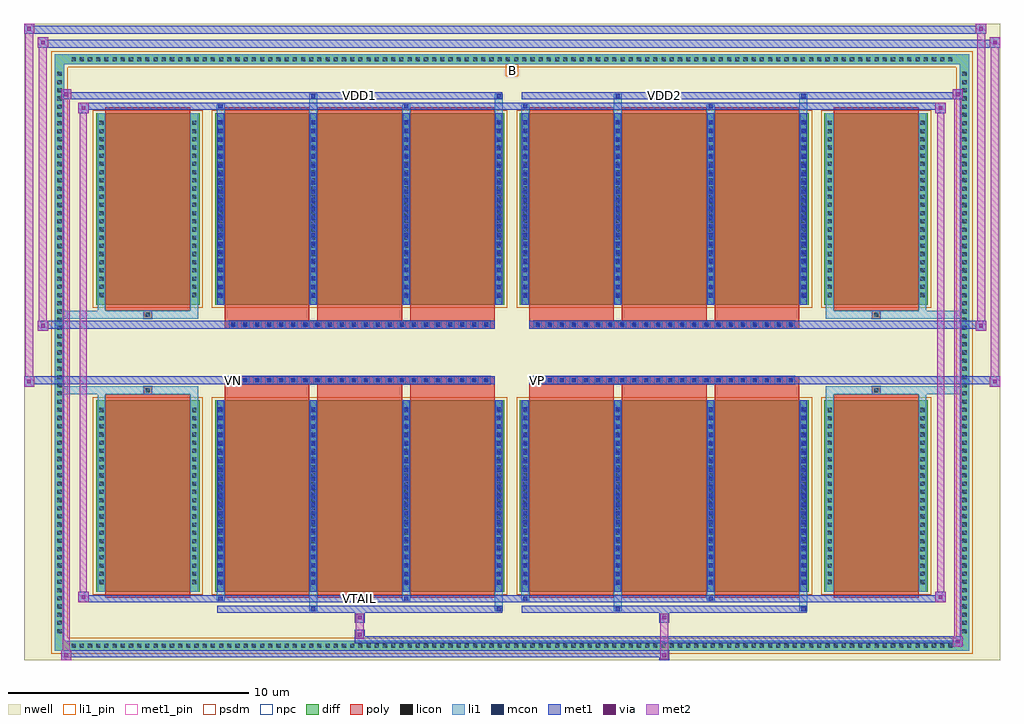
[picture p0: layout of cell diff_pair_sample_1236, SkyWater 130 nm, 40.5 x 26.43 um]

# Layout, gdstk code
import gdstk
lib = gdstk.Library(unit=1e-6, precision=5e-09)
def R(c, l, rs):  # rectangles x0, y0, x1, y1
    for r in rs: c.add(gdstk.rectangle(r[:2], r[2:], *l))
def A(c, l, x, y, w, h, nx, ny, dx, dy):  # array of equal rectangles
    R(c, l, [(x+i*dx, y+j*dy, x+i*dx+w, y+j*dy+h) for i in range(nx) for j in range(ny)])
def P(c, l, *ps):  # polygons
    for p in ps: c.add(gdstk.Polygon(p, *l))
nwell = (64, 20)
diff = (65, 20)
poly = (66, 20)
licon = (66, 44)
li1_pin = (67, 16)
li1 = (67, 20)
mcon = (67, 44)
met1_pin = (68, 16)
met1 = (68, 20)
via = (68, 44)
met2 = (69, 20)
psdm = (94, 20)
npc = (95, 20)

diff_pair_sample_1236 = lib.new_cell('diff_pair_sample_1236')
R(diff_pair_sample_1236, nwell, [(-20.25,-12.78,20.25,13.65), (-17.57,-10.97,-0.01,-0.795), (0.01,-10.97,17.57,-0.795), (-17.57,0.795,-0.01,10.97), (0.01,0.795,17.57,10.97)])
A(diff_pair_sample_1236, diff, -18.395, -12.38, 0.41, 0.41, 108, 2, 0.34, 24.35)
A(diff_pair_sample_1236, diff, -18.98, -11.765, 0.41, 0.41, 1, 69, 0, 0.34)
A(diff_pair_sample_1236, diff, 18.57, -11.765, 0.41, 0.41, 1, 69, 0, 0.34)
R(diff_pair_sample_1236, diff, [(-18.395,-12.38,18.395,-11.97), (-18.98,-11.765,-18.57,11.765), (18.57,-11.765,18.98,11.765), (-17.26,-9.925,-12.96,-1.985), (-12.32,-9.925,-0.32,-1.985), (0.32,-9.925,12.32,-1.985), (12.96,-9.925,17.26,-1.985), (-17.26,1.985,-12.96,9.925), (-12.32,1.985,-0.32,9.925), (0.32,1.985,12.32,9.925), (12.96,1.985,17.26,9.925), (-18.395,11.97,18.395,12.38)])
P(diff_pair_sample_1236, diff, [(18.98,12.38),(-18.98,12.38),(-18.98,-11.97),(-18.57,-11.97),(-18.57,11.97),(18.57,11.97),(18.57,-11.97),(-18.57,-11.97),(-18.98,-11.97),(-18.98,-12.38),(18.98,-12.38)])
A(diff_pair_sample_1236, poly, -11.93, -10.18, 3.52, 8.45, 3, 2, 3.85, 11.91)
A(diff_pair_sample_1236, poly, 0.71, -10.18, 3.52, 8.45, 3, 2, 3.85, 11.91)
A(diff_pair_sample_1236, poly, -11.93, -1.73, 3.52, 0.405, 3, 2, 3.85, 3.055)
A(diff_pair_sample_1236, poly, 0.71, -1.73, 3.52, 0.405, 3, 2, 3.85, 3.055)
A(diff_pair_sample_1236, poly, -11.735, -1.325, 0.33, 0.33, 22, 2, 0.5, 2.32)
A(diff_pair_sample_1236, poly, 0.905, -1.325, 0.33, 0.33, 22, 2, 0.5, 2.32)
R(diff_pair_sample_1236, poly, [(-16.87,-10.18,-13.35,-1.73), (13.35,-10.18,16.87,-1.73), (-15.275,-1.73,-14.945,-1.4), (-15.275,-1.73,-14.945,-1.4), (14.945,-1.73,15.275,-1.4), (14.945,-1.73,15.275,-1.4), (-11.93,-1.325,-0.71,-0.995), (0.71,-1.325,11.93,-0.995), (-11.93,0.995,-0.71,1.325), (0.71,0.995,11.93,1.325), (-15.275,1.4,-14.945,1.73), (-15.275,1.4,-14.945,1.73), (14.945,1.4,15.275,1.73), (14.945,1.4,15.275,1.73), (-16.87,1.73,-13.35,10.18), (13.35,1.73,16.87,10.18)])
A(diff_pair_sample_1236, licon, -18.275, -12.26, 0.17, 0.17, 108, 2, 0.34, 24.35)
A(diff_pair_sample_1236, licon, -18.86, -11.645, 0.17, 0.17, 1, 69, 0, 0.34)
A(diff_pair_sample_1236, licon, 18.69, -11.645, 0.17, 0.17, 1, 69, 0, 0.34)
A(diff_pair_sample_1236, licon, -17.12, -9.61, 0.17, 0.17, 1, 22, 0, 0.34)
A(diff_pair_sample_1236, licon, -13.27, -9.61, 0.17, 0.17, 1, 22, 0, 0.34)
A(diff_pair_sample_1236, licon, -12.18, -9.61, 0.17, 0.17, 4, 22, 3.85, 0.34)
A(diff_pair_sample_1236, licon, 0.46, -9.61, 0.17, 0.17, 4, 22, 3.85, 0.34)
A(diff_pair_sample_1236, licon, 13.1, -9.61, 0.17, 0.17, 1, 22, 0, 0.34)
A(diff_pair_sample_1236, licon, 16.95, -9.61, 0.17, 0.17, 1, 22, 0, 0.34)
A(diff_pair_sample_1236, licon, -11.655, -1.245, 0.17, 0.17, 22, 2, 0.5, 2.32)
A(diff_pair_sample_1236, licon, 0.985, -1.245, 0.17, 0.17, 22, 2, 0.5, 2.32)
A(diff_pair_sample_1236, licon, -17.12, 2.3, 0.17, 0.17, 1, 22, 0, 0.34)
A(diff_pair_sample_1236, licon, -13.27, 2.3, 0.17, 0.17, 1, 22, 0, 0.34)
A(diff_pair_sample_1236, licon, -12.18, 2.3, 0.17, 0.17, 4, 22, 3.85, 0.34)
A(diff_pair_sample_1236, licon, 0.46, 2.3, 0.17, 0.17, 4, 22, 3.85, 0.34)
A(diff_pair_sample_1236, licon, 13.1, 2.3, 0.17, 0.17, 1, 22, 0, 0.34)
A(diff_pair_sample_1236, licon, 16.95, 2.3, 0.17, 0.17, 1, 22, 0, 0.34)
R(diff_pair_sample_1236, licon, [(-15.195,-1.65,-15.025,-1.48), (15.025,-1.65,15.195,-1.48), (-15.195,1.48,-15.025,1.65), (15.025,1.48,15.195,1.65)])
R(diff_pair_sample_1236, li1_pin, [(-0.25,11.47,0.25,11.97)])
A(diff_pair_sample_1236, li1, -18.355, -12.34, 0.33, 0.33, 108, 2, 0.34, 24.35)
A(diff_pair_sample_1236, li1, -18.94, -11.725, 0.33, 0.33, 1, 69, 0, 0.34)
A(diff_pair_sample_1236, li1, 18.61, -11.725, 0.33, 0.33, 1, 69, 0, 0.34)
A(diff_pair_sample_1236, li1, -12.26, -9.925, 0.33, 7.94, 4, 2, 3.85, 11.91)
A(diff_pair_sample_1236, li1, 0.38, -9.925, 0.33, 7.94, 4, 2, 3.85, 11.91)
A(diff_pair_sample_1236, li1, -17.2, -9.69, 0.33, 0.33, 1, 22, 0, 0.34)
A(diff_pair_sample_1236, li1, -13.35, -9.69, 0.33, 0.33, 1, 22, 0, 0.34)
A(diff_pair_sample_1236, li1, -12.26, -9.69, 0.33, 0.33, 4, 22, 3.85, 0.34)
A(diff_pair_sample_1236, li1, 0.38, -9.69, 0.33, 0.33, 4, 22, 3.85, 0.34)
A(diff_pair_sample_1236, li1, 13.02, -9.69, 0.33, 0.33, 1, 22, 0, 0.34)
A(diff_pair_sample_1236, li1, 16.87, -9.69, 0.33, 0.33, 1, 22, 0, 0.34)
A(diff_pair_sample_1236, li1, -12.18, -9.64, 0.17, 0.17, 4, 21, 3.85, 0.36)
A(diff_pair_sample_1236, li1, -12.18, -9.64, 0.17, 7.37, 4, 2, 3.85, 11.91)
A(diff_pair_sample_1236, li1, 0.46, -9.64, 0.17, 0.17, 4, 21, 3.85, 0.36)
A(diff_pair_sample_1236, li1, 0.46, -9.64, 0.17, 7.37, 4, 2, 3.85, 11.91)
A(diff_pair_sample_1236, li1, -11.735, -1.325, 0.33, 0.33, 22, 2, 0.5, 2.32)
A(diff_pair_sample_1236, li1, 0.905, -1.325, 0.33, 0.33, 22, 2, 0.5, 2.32)
A(diff_pair_sample_1236, li1, -17.2, 2.22, 0.33, 0.33, 1, 22, 0, 0.34)
A(diff_pair_sample_1236, li1, -13.35, 2.22, 0.33, 0.33, 1, 22, 0, 0.34)
A(diff_pair_sample_1236, li1, -12.26, 2.22, 0.33, 0.33, 4, 22, 3.85, 0.34)
A(diff_pair_sample_1236, li1, 0.38, 2.22, 0.33, 0.33, 4, 22, 3.85, 0.34)
A(diff_pair_sample_1236, li1, 13.02, 2.22, 0.33, 0.33, 1, 22, 0, 0.34)
A(diff_pair_sample_1236, li1, 16.87, 2.22, 0.33, 0.33, 1, 22, 0, 0.34)
A(diff_pair_sample_1236, li1, -12.18, 2.27, 0.17, 0.17, 4, 21, 3.85, 0.36)
A(diff_pair_sample_1236, li1, 0.46, 2.27, 0.17, 0.17, 4, 21, 3.85, 0.36)
R(diff_pair_sample_1236, li1, [(-18.98,-12.38,-18.57,-11.97), (-18.98,-12.38,-18.57,-11.97), (-18.57,-12.38,18.57,-11.97), (18.57,-12.38,18.98,-11.97), (18.57,-12.38,18.98,-11.97), (-18.98,-11.97,-18.57,11.97), (18.57,-11.97,18.98,11.97), (-8.41,-10.73,-8.08,-9.925), (-8.33,-10.73,-8.16,-10.56), (-0.71,-10.73,-0.38,-9.925), (-0.63,-10.73,-0.46,-10.56), (4.23,-10.73,4.56,-9.925), (4.31,-10.73,4.48,-10.56), (11.93,-10.73,12.26,-9.925), (12.01,-10.73,12.18,-10.56), (-12.26,-10.3,-11.93,-9.925), (-12.18,-10.3,-12.01,-10.13), (-4.56,-10.3,-4.23,-9.925), (-4.48,-10.3,-4.31,-10.13), (0.38,-10.3,0.71,-9.925), (0.46,-10.3,0.63,-10.13), (8.08,-10.3,8.41,-9.925), (8.16,-10.3,8.33,-10.13), (-17.2,-9.925,-16.87,-1.985), (-13.35,-9.925,-13.02,-1.985), (13.02,-9.925,13.35,-1.985), (16.87,-9.925,17.2,-1.985), (-17.2,-1.985,-16.87,-1.4), (-13.35,-1.985,-13.02,-1.4), (13.02,-1.985,13.35,-1.4), (16.87,-1.985,17.2,-1.4), (-18.98,-1.73,-15.275,-1.4), (-17.2,-1.73,-15.275,-1.4), (-15.275,-1.73,-14.945,-1.4), (-14.945,-1.73,-13.02,-1.4), (13.02,-1.73,14.945,-1.4), (14.945,-1.73,15.275,-1.4), (14.945,-1.73,18.98,-1.4), (15.275,-1.73,17.2,-1.4), (-18.98,1.4,-15.275,1.73), (-17.2,1.4,-15.275,1.73), (-17.2,1.4,-16.87,1.985), (-15.275,1.4,-14.945,1.73), (-14.945,1.4,-13.02,1.73), (-13.35,1.4,-13.02,1.985), (13.02,1.4,14.945,1.73), (13.02,1.4,13.35,1.985), (14.945,1.4,15.275,1.73), (14.945,1.4,18.98,1.73), (15.275,1.4,17.2,1.73), (16.87,1.4,17.2,1.985), (-17.2,1.985,-16.87,9.925), (-13.35,1.985,-13.02,9.925), (13.02,1.985,13.35,9.925), (16.87,1.985,17.2,9.925), (-12.26,9.925,-11.93,10.3), (-8.41,9.925,-8.08,10.73), (-4.56,9.925,-4.23,10.3), (-0.71,9.925,-0.38,10.73), (0.38,9.925,0.71,10.3), (4.23,9.925,4.56,10.73), (8.08,9.925,8.41,10.3), (11.93,9.925,12.26,10.73), (-12.18,10.13,-12.01,10.3), (-4.48,10.13,-4.31,10.3), (0.46,10.13,0.63,10.3), (8.16,10.13,8.33,10.3), (-8.33,10.56,-8.16,10.73), (-0.63,10.56,-0.46,10.73), (4.31,10.56,4.48,10.73), (12.01,10.56,12.18,10.73), (-18.98,11.97,-18.57,12.38), (-18.98,11.97,-18.57,12.38), (-18.57,11.97,18.57,12.38), (18.57,11.97,18.98,12.38), (18.57,11.97,18.98,12.38)])
A(diff_pair_sample_1236, mcon, -12.18, -9.64, 0.17, 0.17, 4, 21, 3.85, 0.36)
A(diff_pair_sample_1236, mcon, 0.46, -9.64, 0.17, 0.17, 4, 21, 3.85, 0.36)
A(diff_pair_sample_1236, mcon, -11.655, -1.245, 0.17, 0.17, 22, 2, 0.5, 2.32)
A(diff_pair_sample_1236, mcon, 0.985, -1.245, 0.17, 0.17, 22, 2, 0.5, 2.32)
A(diff_pair_sample_1236, mcon, -12.18, 2.27, 0.17, 0.17, 4, 21, 3.85, 0.36)
A(diff_pair_sample_1236, mcon, 0.46, 2.27, 0.17, 0.17, 4, 21, 3.85, 0.36)
R(diff_pair_sample_1236, mcon, [(-8.33,-10.73,-8.16,-10.56), (-0.63,-10.73,-0.46,-10.56), (4.31,-10.73,4.48,-10.56), (12.01,-10.73,12.18,-10.56), (-12.18,-10.3,-12.01,-10.13), (-4.48,-10.3,-4.31,-10.13), (0.46,-10.3,0.63,-10.13), (8.16,-10.3,8.33,-10.13), (-12.18,10.13,-12.01,10.3), (-4.48,10.13,-4.31,10.3), (0.46,10.13,0.63,10.3), (8.16,10.13,8.33,10.3), (-8.33,10.56,-8.16,10.73), (-0.63,10.56,-0.46,10.73), (4.31,10.56,4.48,10.73), (12.01,10.56,12.18,10.73)])
R(diff_pair_sample_1236, met1_pin, [(-6.455,-10.34,-6.185,-10.07), (-11.705,-1.285,-11.435,-1.015), (0.935,-1.285,1.205,-1.015), (-6.455,10.52,-6.185,10.79), (6.185,10.52,6.455,10.79)])
A(diff_pair_sample_1236, met1, -12.24, -9.925, 0.29, 7.94, 4, 2, 3.85, 11.91)
A(diff_pair_sample_1236, met1, 0.4, -9.925, 0.29, 7.94, 4, 2, 3.85, 11.91)
A(diff_pair_sample_1236, met1, -12.24, -9.7, 0.29, 0.29, 4, 21, 3.85, 0.36)
A(diff_pair_sample_1236, met1, 0.4, -9.7, 0.29, 0.29, 4, 21, 3.85, 0.36)
A(diff_pair_sample_1236, met1, -11.715, -1.305, 0.29, 0.29, 22, 2, 0.5, 2.32)
A(diff_pair_sample_1236, met1, 0.925, -1.305, 0.29, 0.29, 22, 2, 0.5, 2.32)
A(diff_pair_sample_1236, met1, -12.24, 2.21, 0.29, 0.29, 4, 21, 3.85, 0.36)
A(diff_pair_sample_1236, met1, 0.4, 2.21, 0.29, 0.29, 4, 21, 3.85, 0.36)
R(diff_pair_sample_1236, met1, [(-18.71,-12.78,-18.28,-12.35), (6.105,-12.78,6.535,-12.35), (-18.71,-12.64,6.535,-12.35), (18.28,-12.21,18.71,-11.78), (-6.535,-12.07,18.71,-11.78), (-6.535,-11.93,-6.105,-11.5), (-6.535,-11.22,-6.105,-10.79), (6.105,-11.22,6.535,-10.79), (-12.24,-10.79,-0.4,-10.5), (-8.39,-10.79,-8.1,-10.5), (-0.69,-10.79,-0.4,-10.5), (0.4,-10.79,12.24,-10.5), (4.25,-10.79,4.54,-10.5), (11.95,-10.79,12.24,-10.5), (-18,-10.36,-17.57,-9.93), (-18,-10.36,-12.24,-10.07), (-12.24,-10.36,-11.95,-10.07), (-12.24,-10.36,-0.4,-10.07), (-4.54,-10.36,-4.25,-10.07), (-0.4,-10.36,0.4,-10.07), (0.4,-10.36,0.69,-10.07), (0.4,-10.36,12.24,-10.07), (8.1,-10.36,8.39,-10.07), (12.24,-10.36,18,-10.07), (17.57,-10.36,18,-9.93), (-20.25,-1.425,-19.82,-0.995), (19.82,-1.425,20.25,-0.995), (-20.25,-1.325,-0.71,-0.995), (-11.93,-1.325,-0.71,-0.995), (0.71,-1.325,11.93,-0.995), (0.71,-1.325,20.25,-0.995), (-19.68,0.895,-19.25,1.325), (19.25,0.895,19.68,1.325), (-19.68,0.995,-11.93,1.325), (-11.93,0.995,-0.71,1.325), (0.71,0.995,11.93,1.325), (11.93,0.995,19.68,1.325), (-18,9.93,-17.57,10.36), (17.57,9.93,18,10.36), (-18,10.07,-12.24,10.36), (-12.24,10.07,-11.95,10.36), (-12.24,10.07,-0.4,10.36), (-4.54,10.07,-4.25,10.36), (-0.4,10.07,0.4,10.36), (0.4,10.07,0.69,10.36), (0.4,10.07,12.24,10.36), (8.1,10.07,8.39,10.36), (12.24,10.07,18,10.36), (-18.71,10.5,-18.28,10.93), (-18.71,10.5,-12.24,10.79), (-12.24,10.5,-0.4,10.79), (-8.39,10.5,-8.1,10.79), (-0.69,10.5,-0.4,10.79), (0.4,10.5,12.24,10.79), (4.25,10.5,4.54,10.79), (11.95,10.5,12.24,10.79), (12.24,10.5,18.71,10.79), (18.28,10.5,18.71,10.93), (-19.68,12.65,-19.25,13.08), (-19.68,12.65,-17.57,12.98), (-17.57,12.65,17.57,12.98), (17.57,12.65,20.25,12.98), (19.82,12.65,20.25,13.08), (-20.25,13.22,-19.82,13.65), (-20.25,13.22,-17.57,13.55), (-17.57,13.22,17.57,13.55), (17.57,13.22,19.68,13.55), (19.25,13.22,19.68,13.65)])
R(diff_pair_sample_1236, via, [(-18.57,-12.64,-18.42,-12.49), (6.245,-12.64,6.395,-12.49), (18.42,-12.07,18.57,-11.92), (-6.395,-11.79,-6.245,-11.64), (-6.395,-11.08,-6.245,-10.93), (6.245,-11.08,6.395,-10.93), (-17.86,-10.22,-17.71,-10.07), (17.71,-10.22,17.86,-10.07), (-20.11,-1.285,-19.96,-1.135), (19.96,-1.285,20.11,-1.135), (-19.54,1.035,-19.39,1.185), (19.39,1.035,19.54,1.185), (-17.86,10.07,-17.71,10.22), (17.71,10.07,17.86,10.22), (-18.57,10.64,-18.42,10.79), (18.42,10.64,18.57,10.79), (-19.54,12.79,-19.39,12.94), (19.96,12.79,20.11,12.94), (-20.11,13.36,-19.96,13.51), (19.39,13.36,19.54,13.51)])
R(diff_pair_sample_1236, met2, [(-18.71,-12.78,-18.28,-12.35), (-18.64,-12.78,-18.35,10.93), (-18.35,-12.78,-18.28,-12.35), (-18.66,-12.73,-18.33,-12.4), (6.155,-12.73,6.485,-12.4), (6.155,-12.4,6.485,-11.17), (18.28,-12.21,18.71,-11.78), (18.35,-12.21,18.64,10.93), (18.64,-12.21,18.71,-11.78), (18.33,-12.16,18.66,-11.83), (-6.485,-11.88,-6.155,-11.55), (-6.485,-11.55,-6.155,-11.17), (-6.485,-11.17,-6.155,-10.84), (6.155,-11.17,6.485,-10.84), (-18,-10.36,-17.57,-9.93), (-17.93,-10.36,-17.64,10.36), (-17.64,-10.36,-17.57,-9.93), (17.57,-10.36,18,-9.93), (17.64,-10.36,17.93,10.36), (17.93,-10.36,18,-9.93), (-17.95,-10.31,-17.62,-9.98), (17.62,-10.31,17.95,-9.98), (-20.25,-1.425,-19.82,-0.995), (-20.2,-1.425,-19.87,13.65), (-19.87,-1.425,-19.82,-0.995), (19.82,-1.425,20.25,-0.995), (19.87,-1.425,20.2,13.08), (20.2,-1.425,20.25,-0.995), (-20.2,-1.375,-19.87,-1.045), (19.87,-1.375,20.2,-1.045), (-19.68,0.895,-19.25,1.325), (-19.63,0.895,-19.3,13.08), (-19.3,0.895,-19.25,1.325), (19.25,0.895,19.68,1.325), (19.3,0.895,19.63,13.65), (19.63,0.895,19.68,1.325), (-19.63,0.945,-19.3,1.275), (19.3,0.945,19.63,1.275), (-18,9.93,-17.57,10.36), (-17.64,9.93,-17.57,10.36), (17.57,9.93,18,10.36), (17.93,9.93,18,10.36), (-17.95,9.98,-17.62,10.31), (17.62,9.98,17.95,10.31), (-18.71,10.5,-18.28,10.93), (-18.35,10.5,-18.28,10.93), (18.28,10.5,18.71,10.93), (18.64,10.5,18.71,10.93), (-18.66,10.55,-18.33,10.88), (18.33,10.55,18.66,10.88), (-19.68,12.65,-19.25,13.08), (-19.3,12.65,-19.25,13.08), (19.82,12.65,20.25,13.08), (20.2,12.65,20.25,13.08), (-19.63,12.7,-19.3,13.03), (19.87,12.7,20.2,13.03), (-20.25,13.22,-19.82,13.65), (-19.87,13.22,-19.82,13.65), (19.25,13.22,19.68,13.65), (19.63,13.22,19.68,13.65), (-20.2,13.27,-19.87,13.6), (19.3,13.27,19.63,13.6)])
R(diff_pair_sample_1236, psdm, [(-17.39,-10.055,-12.83,-1.855), (-12.45,-10.055,-0.19,-1.855), (0.19,-10.055,12.45,-1.855), (12.83,-10.055,17.39,-1.855), (-17.39,1.855,-12.83,10.055), (-12.45,1.855,-0.19,10.055), (0.19,1.855,12.45,10.055), (12.83,1.855,17.39,10.055)])
P(diff_pair_sample_1236, psdm, [(19.11,12.51),(-19.11,12.51),(-19.11,-11.84),(-18.44,-11.84),(-18.44,11.84),(18.44,11.84),(18.44,-11.84),(-18.44,-11.84),(-19.11,-11.84),(-19.11,-12.51),(19.11,-12.51)])
A(diff_pair_sample_1236, npc, -11.755, -1.345, 0.37, 0.37, 22, 2, 0.5, 2.32)
A(diff_pair_sample_1236, npc, 0.885, -1.345, 0.37, 0.37, 22, 2, 0.5, 2.32)
R(diff_pair_sample_1236, npc, [(-15.295,-1.75,-14.925,-1.38), (14.925,-1.75,15.295,-1.38), (-11.755,-1.345,-10.885,-0.975), (-11.755,-1.345,-10.885,-0.975), (-11.255,-1.345,-10.385,-0.975), (-11.255,-1.345,-10.385,-0.975), (-10.755,-1.345,-9.885,-0.975), (-10.755,-1.345,-9.885,-0.975), (-10.255,-1.345,-9.385,-0.975), (-10.255,-1.345,-9.385,-0.975), (-9.755,-1.345,-8.885,-0.975), (-9.755,-1.345,-8.885,-0.975), (-9.255,-1.345,-8.385,-0.975), (-9.255,-1.345,-8.385,-0.975), (-8.755,-1.345,-7.885,-0.975), (-8.755,-1.345,-7.885,-0.975), (-8.255,-1.345,-7.385,-0.975), (-8.255,-1.345,-7.385,-0.975), (-7.755,-1.345,-6.885,-0.975), (-7.755,-1.345,-6.885,-0.975), (-7.255,-1.345,-6.385,-0.975), (-7.255,-1.345,-6.385,-0.975), (-6.755,-1.345,-5.885,-0.975), (-6.755,-1.345,-5.885,-0.975), (-6.255,-1.345,-5.385,-0.975), (-6.255,-1.345,-5.385,-0.975), (-5.755,-1.345,-4.885,-0.975), (-5.755,-1.345,-4.885,-0.975), (-5.255,-1.345,-4.385,-0.975), (-5.255,-1.345,-4.385,-0.975), (-4.755,-1.345,-3.885,-0.975), (-4.755,-1.345,-3.885,-0.975), (-4.255,-1.345,-3.385,-0.975), (-4.255,-1.345,-3.385,-0.975), (-3.755,-1.345,-2.885,-0.975), (-3.755,-1.345,-2.885,-0.975), (-3.255,-1.345,-2.385,-0.975), (-3.255,-1.345,-2.385,-0.975), (-2.755,-1.345,-1.885,-0.975), (-2.755,-1.345,-1.885,-0.975), (-2.255,-1.345,-1.385,-0.975), (-2.255,-1.345,-1.385,-0.975), (-1.755,-1.345,-0.885,-0.975), (-1.755,-1.345,-0.885,-0.975), (0.885,-1.345,1.755,-0.975), (0.885,-1.345,1.755,-0.975), (1.385,-1.345,2.255,-0.975), (1.385,-1.345,2.255,-0.975), (1.885,-1.345,2.755,-0.975), (1.885,-1.345,2.755,-0.975), (2.385,-1.345,3.255,-0.975), (2.385,-1.345,3.255,-0.975), (2.885,-1.345,3.755,-0.975), (2.885,-1.345,3.755,-0.975), (3.385,-1.345,4.255,-0.975), (3.385,-1.345,4.255,-0.975), (3.885,-1.345,4.755,-0.975), (3.885,-1.345,4.755,-0.975), (4.385,-1.345,5.255,-0.975), (4.385,-1.345,5.255,-0.975), (4.885,-1.345,5.755,-0.975), (4.885,-1.345,5.755,-0.975), (5.385,-1.345,6.255,-0.975), (5.385,-1.345,6.255,-0.975), (5.885,-1.345,6.755,-0.975), (5.885,-1.345,6.755,-0.975), (6.385,-1.345,7.255,-0.975), (6.385,-1.345,7.255,-0.975), (6.885,-1.345,7.755,-0.975), (6.885,-1.345,7.755,-0.975), (7.385,-1.345,8.255,-0.975), (7.385,-1.345,8.255,-0.975), (7.885,-1.345,8.755,-0.975), (7.885,-1.345,8.755,-0.975), (8.385,-1.345,9.255,-0.975), (8.385,-1.345,9.255,-0.975), (8.885,-1.345,9.755,-0.975), (8.885,-1.345,9.755,-0.975), (9.385,-1.345,10.255,-0.975), (9.385,-1.345,10.255,-0.975), (9.885,-1.345,10.755,-0.975), (9.885,-1.345,10.755,-0.975), (10.385,-1.345,11.255,-0.975), (10.385,-1.345,11.255,-0.975), (10.885,-1.345,11.755,-0.975), (10.885,-1.345,11.755,-0.975), (-11.755,0.975,-10.885,1.345), (-11.755,0.975,-10.885,1.345), (-11.255,0.975,-10.385,1.345), (-11.255,0.975,-10.385,1.345), (-10.755,0.975,-9.885,1.345), (-10.755,0.975,-9.885,1.345), (-10.255,0.975,-9.385,1.345), (-10.255,0.975,-9.385,1.345), (-9.755,0.975,-8.885,1.345), (-9.755,0.975,-8.885,1.345), (-9.255,0.975,-8.385,1.345), (-9.255,0.975,-8.385,1.345), (-8.755,0.975,-7.885,1.345), (-8.755,0.975,-7.885,1.345), (-8.255,0.975,-7.385,1.345), (-8.255,0.975,-7.385,1.345), (-7.755,0.975,-6.885,1.345), (-7.755,0.975,-6.885,1.345), (-7.255,0.975,-6.385,1.345), (-7.255,0.975,-6.385,1.345), (-6.755,0.975,-5.885,1.345), (-6.755,0.975,-5.885,1.345), (-6.255,0.975,-5.385,1.345), (-6.255,0.975,-5.385,1.345), (-5.755,0.975,-4.885,1.345), (-5.755,0.975,-4.885,1.345), (-5.255,0.975,-4.385,1.345), (-5.255,0.975,-4.385,1.345), (-4.755,0.975,-3.885,1.345), (-4.755,0.975,-3.885,1.345), (-4.255,0.975,-3.385,1.345), (-4.255,0.975,-3.385,1.345), (-3.755,0.975,-2.885,1.345), (-3.755,0.975,-2.885,1.345), (-3.255,0.975,-2.385,1.345), (-3.255,0.975,-2.385,1.345), (-2.755,0.975,-1.885,1.345), (-2.755,0.975,-1.885,1.345), (-2.255,0.975,-1.385,1.345), (-2.255,0.975,-1.385,1.345), (-1.755,0.975,-0.885,1.345), (-1.755,0.975,-0.885,1.345), (0.885,0.975,1.755,1.345), (0.885,0.975,1.755,1.345), (1.385,0.975,2.255,1.345), (1.385,0.975,2.255,1.345), (1.885,0.975,2.755,1.345), (1.885,0.975,2.755,1.345), (2.385,0.975,3.255,1.345), (2.385,0.975,3.255,1.345), (2.885,0.975,3.755,1.345), (2.885,0.975,3.755,1.345), (3.385,0.975,4.255,1.345), (3.385,0.975,4.255,1.345), (3.885,0.975,4.755,1.345), (3.885,0.975,4.755,1.345), (4.385,0.975,5.255,1.345), (4.385,0.975,5.255,1.345), (4.885,0.975,5.755,1.345), (4.885,0.975,5.755,1.345), (5.385,0.975,6.255,1.345), (5.385,0.975,6.255,1.345), (5.885,0.975,6.755,1.345), (5.885,0.975,6.755,1.345), (6.385,0.975,7.255,1.345), (6.385,0.975,7.255,1.345), (6.885,0.975,7.755,1.345), (6.885,0.975,7.755,1.345), (7.385,0.975,8.255,1.345), (7.385,0.975,8.255,1.345), (7.885,0.975,8.755,1.345), (7.885,0.975,8.755,1.345), (8.385,0.975,9.255,1.345), (8.385,0.975,9.255,1.345), (8.885,0.975,9.755,1.345), (8.885,0.975,9.755,1.345), (9.385,0.975,10.255,1.345), (9.385,0.975,10.255,1.345), (9.885,0.975,10.755,1.345), (9.885,0.975,10.755,1.345), (10.385,0.975,11.255,1.345), (10.385,0.975,11.255,1.345), (10.885,0.975,11.755,1.345), (10.885,0.975,11.755,1.345), (-15.295,1.38,-14.925,1.75), (14.925,1.38,15.295,1.75)])
diff_pair_sample_1236.add(gdstk.Label('VTAIL', (-6.32,-10.205), layer=68, texttype=5))
diff_pair_sample_1236.add(gdstk.Label('VN', (-11.57,-1.15), layer=68, texttype=5))
diff_pair_sample_1236.add(gdstk.Label('VP', (1.07,-1.15), layer=68, texttype=5))
diff_pair_sample_1236.add(gdstk.Label('B', (0,11.72), layer=67, texttype=5))
diff_pair_sample_1236.add(gdstk.Label('VDD2', (6.32,10.655), layer=68, texttype=5))
diff_pair_sample_1236.add(gdstk.Label('VDD1', (-6.32,10.655), layer=68, texttype=5))

lib.write_gds('diff_pair_sample_1236.gds')
